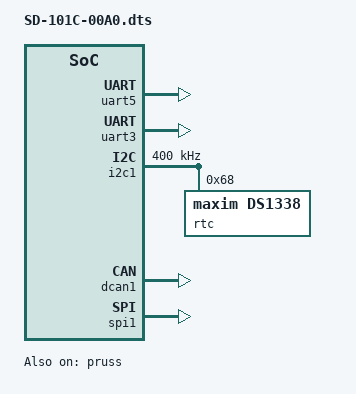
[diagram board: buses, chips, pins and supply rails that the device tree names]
/*
 * Device Tree Overlay for Robotics Cape SD-101C
 * Strawson Design 2015
 *
 */
 
/*
pinmux control byte map courtesy of http://beaglebone.cameon.net/
Bit 5: 1 - Input, 0 - Output
Bit 4: 1 - Pull up, 0 - Pull down
Bit 3: 1 - Pull disabled, 0 - Pull enabled
Bit 2 \
Bit 1 |- Mode
Bit 0 /
 */
 
/dts-v1/;
/plugin/; 

/ {
    compatible = "ti,beaglebone-black";

    /* identification */
    part-number = "SD-101C";

    /* version */
    version = "00A0";
	
	exclusive-use =
		"P8.7",		/*LED_RED*/
		"P8.8",		/*LED_GRN*/
		"P8.9",		/*PAUSE_BTN*/
		"P8.10",	/*MODE_BTN*/
		
		"P8.11",	/*QEP_2B*/
		"P8.12",	/*QEP_2A*/
		"eqep2",
		
		"P8.13",	/*PWM_2B*/
		"ehrpwm2B",
		
		"P8.14",	/*LED_1*/
		"P8.15",	/*LED_2*/
		"P8.16",	/*LED_3*/
		"P8.17",	/*LED_4*/
		
		"P8.19",	/*PWM_2A*/
		"ehrpwm2A", 
		
		"P8.27",	/*SERVO_1*/
		"P8.28",	/*SERVO_2*/
		"P8.29",	/*SERVO_3*/
		"P8.30",	/*SERVO_4*/
		"pru0",
		"pru1",
		"pruss",
		
		"P8.35",	/*QEP_1A*/
		"P8.33",	/*QEP_1B*/
		"eqep1", 

		
		"P8.39",	/*SERVO_5*/
		"P8.40",	/*SERVO_6*/
		"P8.41",	/*SERVO_7*/
		"P8.42",	/*SERVO_8*/
		
		"P8.43",	/*MDIR_3B*/
		"P8.44",	/*MDIR_3A*/
		"P8.45",	/*MDIR_4A*/
		"P8.46",	/*MDIR_4B*/
		
		
		"P9.11",	/* uart4_rxd */
		"uart4",
		 
		"P9.12",	/*MDIR_1A*/
		"P9.13",	/*MDIR_1B*/
				
		"P9.14",	/*PWM_1A*/
		"ehrpwm1A",
		
		"P9.15",	/*MDIR_2A*/
		
		"P9.16",	/*PWM_1B*/
		"ehrpwm1B",
		
		"P9.17",	/*I2C1_SCL*/
		"P9.18",	/*I2C1_SDA*/
		"i2c1",
		"P9.19",	/*I2C2_SCL*/
		"P9.20",	/*I2C2_SDA*/
		"i2c2",

		"P9.21",	/*UART2_TX GPS*/
		"P9.22",	/*UART2_RX GPS*/
		"uart2",
		
		"P9.23", 	/*SPI1_SS2 GPIO*/
		"P9.25",	/*IMU_INT*/
		
		"P9.24",	/*CAN1_RX*/
		"P9.26",	/*CAN1_TX*/
		"dcan1",
		
		"P9.27",	/*QEP_0B*/
		"eqep0", 

		"P9.28",	/*SPI1_SS1	gpio*/
		"P9.29",	/*SPI1_MO*/
		"P9.30",	/*SPI1_MI*/
		"P9.31",	/*SPI1_SCK*/
		"spi1",
		
		"P9.35", 	/*V_DIV_BAT*/
		"P9.36", 	/*V_DIV_DC*/
		"tscadc",
		
		
		"P9.41",	/*MOT_STBY*/
		"P9.42";	/*QEP_0A*/
		
		
	
    fragment@0 {
		target = <&am33xx_pinmux>;
		__overlay__ {
			/****************************************/
			/* 			PWM pinmux					*/
			/****************************************/
			pwm_P9_14: pinmux_pwm_P9_14_pins {
				pinctrl-single,pins = <0x048  0x6>; /* P9_14 (ZCZ ball U14) | MODE 6 */
			};
			pwm_P9_16: pinmux_pwm_P9_16_pins {
				pinctrl-single,pins = <0x04c  0x6>; /* P9_16 (ZCZ ball T14) | MODE 6 */
			};
			pwm_P8_19: pinmux_pwm_P8_19_pins {
				pinctrl-single,pins = <0x020  0x4>; /* P8_19 (ZCZ ball U10) | MODE 4 */
			};
			pwm_P8_13: pinmux_pwm_P8_13_pins {
				pinctrl-single,pins = <0x024  0x4>; /* P8_13 (ZCZ ball T10) | MODE 4 */
			};
			
			/****************************************/
			/* 			DSM2 UART4 pinmux			*/
			/* only pin that swaps between GPIO&UART*/
			/****************************************/
            P9_11_default_pin: pinmux_P9_11_default_pin {
                pinctrl-single,pins = <0x070  0x36>; };     /* Mode 6 uart */
            P9_11_gpio_pin: pinmux_P9_11_gpio_pin {
                pinctrl-single,pins = <0x070  0x2F>; };     /* Mode 7, RxActive */
            P9_11_gpio_pu_pin: pinmux_P9_11_gpio_pu_pin {
                pinctrl-single,pins = <0x070  0x37>; };     /* Mode 7, Pull-Up, RxActive */
            P9_11_gpio_pd_pin: pinmux_P9_11_gpio_pd_pin {
                pinctrl-single,pins = <0x070  0x27>; };     /* Mode 7, Pull-Down, RxActive */
            P9_11_uart_pin: pinmux_P9_11_uart_pin {
                pinctrl-single,pins = <0x070  0x36>; };     /* Mode 6, uart */

			/****************************************/
			/* 			eQEP pinmux					*/
			/****************************************/
			pinctrl_eqep0: pinctrl_eqep0_pins {
        		pinctrl-single,pins = < 
					0x1A0 0x31  /* P9_42 = GPIO3_18 = EQEP0A_in, MODE1 */       
					0x1A4 0x31  /* P9_27 = GPIO3_19 = EQEP0B_in, MODE1 */       
				>;
        	};
			pinctrl_eqep1: pinctrl_eqep1_pins {
                pinctrl-single,pins = <					 				   
					0x0D4 0x32  /* P8_33 = GPIO0_9 = EQEP1B_in, MODE2 */
					0x0D0 0x32  /* P8_35 = GPIO0_8 = EQEP1A_in, MODE2 */
                >;
            };	
			pinctrl_eqep2: pinctrl_eqep2_pins {
                pinctrl-single,pins = <					 				   
					0x030 0x3C  /* P8_12 = EQEP2A_in, MODE4 */
					0x034 0x3C  /* P8_11 = EQEP2B_in, MODE4 */
                >;
            };
			

			/****************************************/
			/* 		GPIO input pinmux			*/
			/****************************************/
			input_pins: pinmux_input_pins{
				pinctrl-single,pins = <
					0x09c 0x37	/*P8.9  Pause BUTTON, input pullup*/
					0x098 0x37	/*P8.10 MODE BUTTON input pullup*/
					0x1AC 0x37	/*P9.25 MPU-9150 INTERRUPT IN*/
				>;
			};
			
			/****************************************/
			/* 		GPIO output pinmux				*/
			/****************************************/
			gpio_helper_pins: pinmux_gpio_helper_pins {
				pinctrl-single,pins = <
					0x090 0x0F	/*P8.7 MODE7 | OUTPUT*/
					0x094 0x0F	/*P8.8*/
					0x028 0x0F	/*P8.14*/
					0x03C 0x0F	/*P8.15*/
					0x038 0x0F	/*P8.16*/
					0x02C 0x0F	/*P8.17*/
					0x0c4 0x0F	/*P8.38*/
					0x0a8 0x0F	/*P8.43*/
					0x0ac 0x0F	/*P8.44*/
					0x0a0 0x0F	/*P8.45*/
					0x0a4 0x0F	/*P8.46*/
								
					0x078 0x0F	/*P9.12*/
					0x074 0x0F	/*P9.13*/
					0x040 0x0F	/*P9.15*/
					0x04C 0x0F	/*P9.16*/
					0x044 0x0F	/*P9.23*/
					0x19C 0x0F	/*P9.28*/
					0x1b4 0x0F	/*P9.41*/
				>;
			};
			/****************************************/
			/* 		UART2 GPS PINS		*/
			/****************************************/
			bb_uart2_pins: pinmux_bb_uart2_pins {
				pinctrl-single,pins = <
					0x150 0x21	/* spi0_sclk.uart2_rxd | MODE1 */
					0x154 0x01	/* spi0_d0.uart2_txd | MODE1 */
				>;
			};
			
			/****************************************/
			/* 		PRU Servo Output pinmux			*/
			/****************************************/
			pru_pins: pinmux_pru_pins {
				pinctrl-single,pins = <
					0x0e0 0x25	/* lcd_vsync.pr1_pru1_pru_r30_8, MODE5 | OUTPUT | PRU */
					0x0e8 0x25	/* lcd_pclk.pr1_pru1_pru_r30_10, MODE5 | OUTPUT | PRU */
					0x0e4 0x25	/* lcd_hsync.pr1_pru1_pru_r30_9, MODE5 | OUTPUT | PRU */
					0x0ec 0x25	/* 			pr1_pru1_pru_r30_11, MODE5 | OUTPUT | PRU */
					0x0b8 0x25	/* 			 pr1_pru1_pru_r30_6, MODE5 | OUTPUT | PRU */
					0x0bc 0x25	/* lcd_data7.pr1_pru1_pru_r30_7, MODE5 | OUTPUT | PRU */
					0x0b0 0x25	/* lcd_data4.pr1_pru1_pru_r30_4, MODE5 | OUTPUT | PRU */
					0x0b4 0x25	/* lcd_data5.pr1_pru1_pru_r30_5, MODE5 | OUTPUT | PRU */
				>;
			};
			
			/****************************************/
			/* 		SPI1 PINMUX		*/
			/****************************************/
			bb_spi1_pins: pinmux_bb_spi1_pins {
				pinctrl-single,pins = <
					0x190 0x33	/* mcasp0_aclkx.spi1_sclk, INPUT_PULLUP | MODE3 */
					0x194 0x33	/* mcasp0_fsx.spi1_d0, INPUT_PULLUP | MODE3 */
					0x198 0x13	/* mcasp0_axr0.spi1_d1, OUTPUT_PULLUP | MODE3 */
					0x19c 0x0F	/* mcasp0_ahclkr.spi1_cs0, OUTPUT_PULLUP | MODE7 */
				>;
			};
			
			/****************************************/
			/* 		I2C1 PINMUX	external connector	*/
			/****************************************/
			bb_i2c1_pins: pinmux_bb_i2c1_pins {
				pinctrl-single,pins = <
					0x158 0x72	/* spi0_d1.i2c1_sda, SLEWCTRL_SLOW | INPUT_PULLUP | MODE2 */
					0x15c 0x72	/* spi0_cs0.i2c1_scl, SLEWCTRL_SLOW | INPUT_PULLUP | MODE2 */
				>;
			};
			
			/****************************************/
			/* 		DCAN1 PINMUX	*/
			/****************************************/
			cbb_serial_dcan1_pins: pinmux_cbb_serial_dcan1_pins {
			pinctrl-single,pins = <
				0x180 0x12 /* uart1_rxd - PULLUP | MODE2 (DCAN TX) */
				0x184 0x32 /* uart1_txd - RX_ENABLED | PULLUP | MODE2 (DCAN1 RX) */
				>;
			};
			
		};
	};
	
	fragment@21 {
		target = <&uart5>;	/* really uart4 */
		__overlay__ {
			status = "okay";
			pinctrl-names = "default";
			pinctrl-0 = <>;
		};
	};
	fragment@22 {
		target = <&uart3>;	/* really uart2 */
		__overlay__ {
			status = "okay";
			pinctrl-names = "default";
			pinctrl-0 = <&bb_uart2_pins>;
		};
	};
	
	
	fragment@27 {
        target = <&ocp>;
        __overlay__ {

         P9_11_pinmux {
                compatible = "bone-pinmux-helper";
                status = "okay";
                pinctrl-names = "default", "gpio", "gpio_pu", "gpio_pd", "uart";
                pinctrl-0 = <&P9_11_default_pin>;
                pinctrl-1 = <&P9_11_gpio_pin>;
                pinctrl-2 = <&P9_11_gpio_pu_pin>;
                pinctrl-3 = <&P9_11_gpio_pd_pin>;
                pinctrl-4 = <&P9_11_uart_pin>;
            };
		};
	};
	
	fragment@28 {
        target = <&pruss>;
        __overlay__ {
			status = "okay";
			pinctrl-names = "default";
			pinctrl-0 = <&pru_pins>;
		};
	};
	
	fragment@29 {
		target = <&i2c1>;	/* i2c1 is numbered correctly */
		__overlay__ {
			status = "okay";
			pinctrl-names = "default";
			pinctrl-0 = <&bb_i2c1_pins>;

			/* this is the configuration part */
			clock-frequency = <400000>;

			#address-cells = <1>;
			#size-cells = <0>;

			/* add any i2c devices on the bus here */

			/* DS1338 RTC module */
			rtc@68 {
				compatible = "maxim,ds1338";
				reg = <0x68>;
			};
		};
	};
	
	fragment@30 {
		target = <&dcan1>;
		__overlay__ {
			status = "okay";
			pinctrl-names = "default";
			pinctrl-0 = <&cbb_serial_dcan1_pins>;
		};
	};
	
	fragment@31 {
		target = <&spi1>;	/* spi1 is numbered correctly */
		__overlay__ {
			status = "okay";
			pinctrl-names = "default";
			pinctrl-0 = <&bb_spi1_pins>;

			#address-cells = <1>;
			#size-cells = <0>;

			channel@0 {
				#address-cells = <1>;
				#size-cells = <0>;

				compatible = "spidev";

				reg = <0>;
				spi-max-frequency = <16000000>;
				spi-cpha;
			};
		};
	};
	
};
